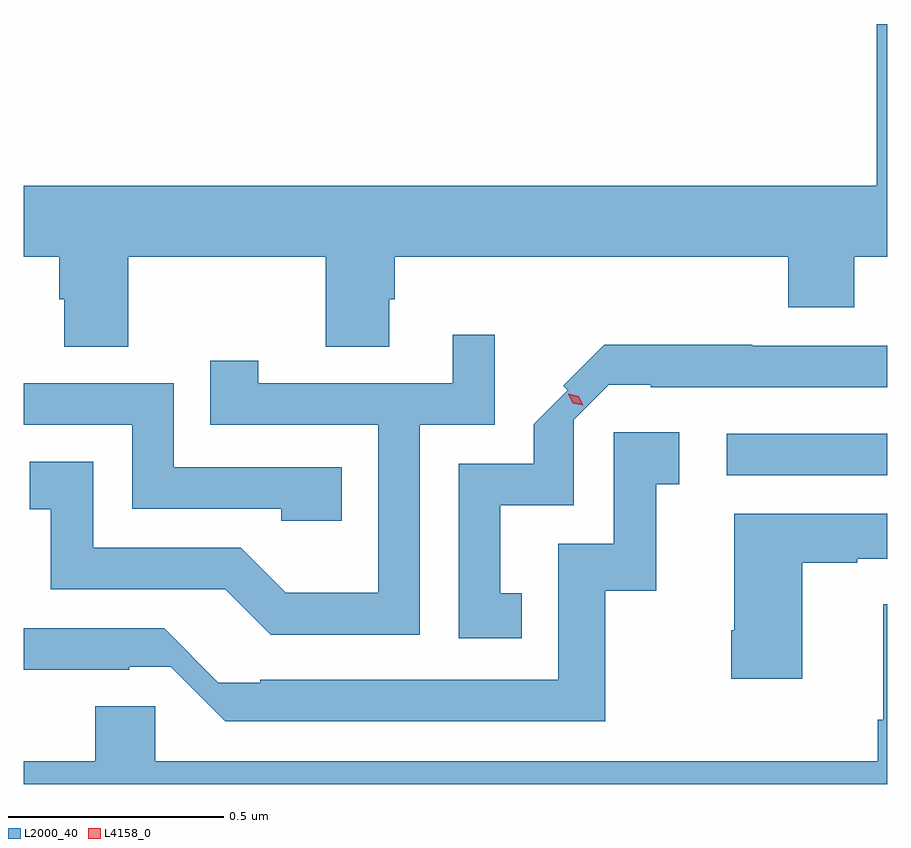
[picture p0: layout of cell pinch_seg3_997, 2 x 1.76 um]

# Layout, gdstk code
import gdstk
lib = gdstk.Library(unit=1e-6, precision=1e-09)
def R(c, l, rs):  # rectangles x0, y0, x1, y1
    for r in rs: c.add(gdstk.rectangle(r[:2], r[2:], *l))
def P(c, l, *ps):  # polygons
    for p in ps: c.add(gdstk.Polygon(p, *l))
L2000_40 = (2000, 40)
L4158_0 = (4158, 0)

pinch_seg3_997 = lib.new_cell('pinch_seg3_997')
R(pinch_seg3_997, L2000_40, [(500.325,713.73,500.697,713.826)])
P(pinch_seg3_997, L2000_40, [(498.939,714.236),(499.396,714.236),(499.396,714.028),(499.543,714.028),(499.543,714.138),(499.556,714.138),(499.556,714.236),(500.468,714.236),(500.468,714.119),(500.62,714.119),(500.62,714.236),(500.697,714.236),(500.697,714.775),(500.672,714.775),(500.672,714.4),(498.697,714.4),(498.697,714.236),(498.779,714.236),(498.779,714.138),(498.791,714.138),(498.791,714.028),(498.939,714.028)],
  [(499.614,713.847),(499.788,713.847),(499.788,714.055),(499.691,714.055),(499.691,713.943),(499.24,713.943),(499.24,713.995),(499.129,713.995),(499.129,713.847),(499.518,713.847),(499.518,713.458),(499.304,713.458),(499.2,713.562),(498.858,713.562),(498.858,713.761),(498.711,713.761),(498.711,713.651),(498.76,713.651),(498.76,713.466),(499.164,713.466),(499.269,713.361),(499.614,713.361)],
  [(499.85,713.457),(499.801,713.457),(499.801,713.661),(499.971,713.661),(499.971,713.859),(500.052,713.94),(500.149,713.94),(500.149,713.934),(500.697,713.934),(500.697,714.03),(500.384,714.03),(500.384,714.032),(500.041,714.032),(499.947,713.937),(499.957,713.927),(499.878,713.848),(499.878,713.757),(499.704,713.757),(499.704,713.352),(499.85,713.352)],
  [(499.433,713.748),(499.044,713.748),(499.044,713.943),(498.697,713.943),(498.697,713.847),(498.948,713.847),(498.948,713.652),(499.293,713.652),(499.293,713.625),(499.433,713.625)],
  [(500.044,713.463),(500.162,713.463),(500.162,713.709),(500.215,713.709),(500.215,713.83),(500.064,713.83),(500.064,713.571),(499.935,713.571),(499.935,713.256),(499.245,713.256),(499.245,713.25),(499.148,713.25),(499.022,713.376),(498.697,713.376),(498.697,713.28),(498.941,713.28),(498.941,713.286),(499.038,713.286),(499.164,713.16),(500.044,713.16)],
  [(500.5,713.527),(500.627,713.527),(500.627,713.537),(500.697,713.537),(500.697,713.641),(500.342,713.641),(500.342,713.371),(500.335,713.371),(500.335,713.259),(500.5,713.259)],
  [(500.697,713.431),(500.687,713.431),(500.687,713.164),(500.675,713.164),(500.675,713.068),(499.002,713.068),(499.002,713.195),(498.863,713.195),(498.863,713.068),(498.697,713.068),(498.697,713.015),(500.697,713.015)])
P(pinch_seg3_997, L4158_0, [(499.992,713.892),(499.969,713.897),(499.958,713.918),(499.958,713.919),(499.959,713.919),(499.982,713.913),(499.993,713.892),(499.993,713.892)])

lib.write_gds('pinch_seg3_997.gds')
